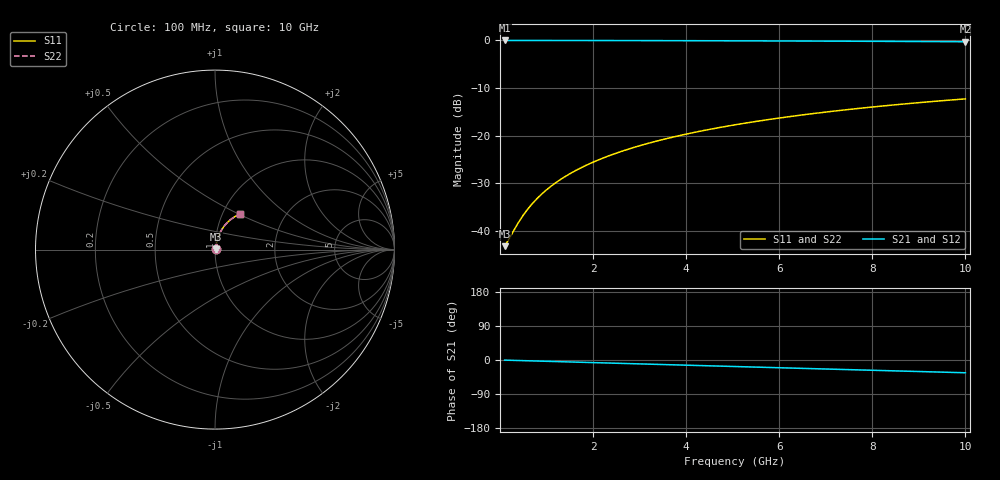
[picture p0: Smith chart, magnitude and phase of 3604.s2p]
# Hz S RI R 50.00
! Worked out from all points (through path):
!   100 points, 100 MHz to 10 GHz, reference 50 ohm
!   highest |S21| = -0.06 dB at 100 MHz (marker M1); lowest = -0.3 dB at 10 GHz (marker M2)
!   group delay of S21, straight-line fit = 9.37 ps
!   lowest |S11| = -43.2 dB at 100 MHz (marker M3), VSWR 1.01, Z = 50.6 + j0.261 ohm
!   |S11| at or under -10 dB: start of sweep to end of sweep
!   |S22| runs from -43.2 to -12.3 dB; largest |S21 - S12| = 0
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1e8  0.00641 0.00258  0.9936 -0.00594  0.9936 -0.00594  0.00641 0.00258
2e8  0.0065 0.00515  0.9935 -0.0119  0.9935 -0.0119  0.0065 0.00515
4e8  0.00674 0.0103  0.9932 -0.0237  0.9932 -0.0237  0.00674 0.0103
5e8  0.0069 0.0129  0.9929 -0.0297  0.9929 -0.0297  0.0069 0.0129
6e8  0.00709 0.0154  0.9927 -0.0356  0.9927 -0.0356  0.00709 0.0154
7e8  0.0073 0.018  0.9924 -0.0415  0.9924 -0.0415  0.0073 0.018
8e8  0.00755 0.0206  0.9921 -0.0475  0.9921 -0.0475  0.00755 0.0206
1e9  0.00813 0.0257  0.9913 -0.0593  0.9913 -0.0593  0.00813 0.0257
1.2e9  0.00883 0.0308  0.9903 -0.0711  0.9903 -0.0711  0.00883 0.0308
1.5e9  0.0101 0.0384  0.9886 -0.0888  0.9886 -0.0888  0.0101 0.0384
1.8e9  0.0116 0.0459  0.9865 -0.1065  0.9865 -0.1065  0.0116 0.0459
2.1e9  0.0134 0.0534  0.984 -0.1241  0.984 -0.1241  0.0134 0.0534
2.5e9  0.0163 0.0633  0.9801 -0.1474  0.9801 -0.1474  0.0163 0.0633
2.9e9  0.0195 0.073  0.9756 -0.1706  0.9756 -0.1706  0.0195 0.073
3.4e9  0.0243 0.0849  0.969 -0.1993  0.969 -0.1993  0.0243 0.0849
4.2e9  0.0333 0.1032  0.9565 -0.2445  0.9565 -0.2445  0.0333 0.1032
5.1e9  0.0454 0.1226  0.9396 -0.2942  0.9396 -0.2942  0.0454 0.1226
5.9e9  0.0578 0.1386  0.9221 -0.3372  0.9221 -0.3372  0.0578 0.1386
6.7e9  0.0715 0.1533  0.9024 -0.3788  0.9024 -0.3788  0.0715 0.1533
7.5e9  0.0865 0.1666  0.8808 -0.419  0.8808 -0.419  0.0865 0.1666
8.4e9  0.1047 0.1798  0.8542 -0.4623  0.8542 -0.4623  0.1047 0.1798
1e10  0.1396 0.1981  0.8017 -0.5343  0.8017 -0.5343  0.1396 0.1981
